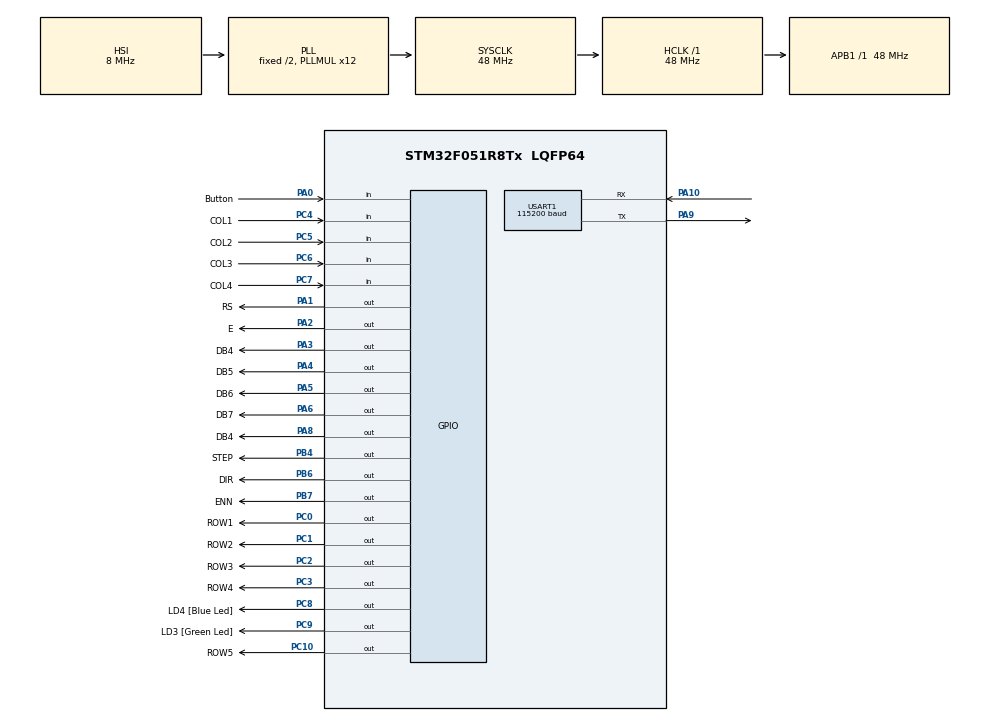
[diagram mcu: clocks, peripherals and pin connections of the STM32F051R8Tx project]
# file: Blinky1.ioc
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Mcu.Family=STM32F0
Mcu.Name=STM32F051R8Tx
Mcu.Package=LQFP64
NVIC.USART1_IRQn=true\:0\:0\:false\:false\:true\:true\:true\:true
PA0.GPIO_Label=Button
PA0.GPIO_PuPd=GPIO_PULLUP
PA0.Signal=GPIO_Input
PA1.GPIO_Label=RS
PA1.Signal=GPIO_Output
PA10.Mode=Asynchronous
PA10.Signal=USART1_RX
PA13.GPIO_Label=SWDIO
PA13.Mode=Serial_Wire
PA13.Signal=SYS_SWDIO
PA14.GPIO_Label=SWCLK
PA14.Mode=Serial_Wire
PA14.Signal=SYS_SWCLK
PA2.GPIO_Label=E
PA2.Signal=GPIO_Output
PA3.GPIO_Label=DB4
PA3.Signal=GPIO_Output
PA4.GPIO_Label=DB5
PA4.Signal=GPIO_Output
PA5.GPIO_Label=DB6
PA5.Signal=GPIO_Output
PA6.GPIO_Label=DB7
PA6.Signal=GPIO_Output
PA8.GPIO_Label=DB4
PA8.Signal=GPIO_Output
PA9.Mode=Asynchronous
PA9.Signal=USART1_TX
PB4.GPIO_Label=STEP
PB4.Signal=GPIO_Output
PB6.GPIO_Label=DIR
PB6.Signal=GPIO_Output
PB7.GPIO_Label=ENN
PB7.PinState=GPIO_PIN_SET
PB7.Signal=GPIO_Output
PC0.GPIO_Label=ROW1
PC0.Signal=GPIO_Output
PC1.GPIO_Label=ROW2
PC1.Signal=GPIO_Output
PC10.GPIO_Label=ROW5
PC10.Signal=GPIO_Output
PC2.GPIO_Label=ROW3
PC2.Signal=GPIO_Output
PC3.GPIO_Label=ROW4
PC3.Signal=GPIO_Output
PC4.GPIO_Label=COL1
PC4.GPIO_PuPd=GPIO_PULLUP
PC4.Signal=GPIO_Input
PC5.GPIO_Label=COL2
PC5.GPIO_PuPd=GPIO_PULLUP
PC5.Signal=GPIO_Input
PC6.GPIO_Label=COL3
PC6.GPIO_PuPd=GPIO_PULLUP
PC6.Signal=GPIO_Input
PC7.GPIO_Label=COL4
PC7.GPIO_PuPd=GPIO_PULLUP
PC7.Signal=GPIO_Input
PC8.GPIO_Label=LD4 [Blue Led]
PC8.Signal=GPIO_Output
PC9.GPIO_Label=LD3 [Green Led]
PC9.Signal=GPIO_Output
PF0-OSC_IN.Mode=HSE-External-Oscillator
PF0-OSC_IN.Signal=RCC_OSC_IN
PF1-OSC_OUT.Mode=HSE-External-Oscillator
PF1-OSC_OUT.Signal=RCC_OSC_OUT
ProjectManager.HeapSize=0x200
ProjectManager.StackSize=0x400
ProjectManager.TargetToolchain=STM32CubeIDE
RCC.AHBFreq_Value=48000000
RCC.APB1Freq_Value=48000000
RCC.APB1TimFreq_Value=48000000
RCC.HCLKFreq_Value=48000000
RCC.PLLMUL=RCC_PLL_MUL12
RCC.SYSCLKFreq_VALUE=48000000
RCC.SYSCLKSource=RCC_SYSCLKSOURCE_PLLCLK
USART1.BaudRate=115200
USART1.VirtualMode-Asynchronous=VM_ASYNC
board=STM32F0DISCOVERY

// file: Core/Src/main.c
/* USER CODE BEGIN Header */
/**
  ******************************************************************************
  * @file           : main.c
  * @brief          : Main program body
  ******************************************************************************
  */
/* USER CODE END Header */
#include "main.h"
#include "usart.h"
#include "gpio.h"

/* USER CODE BEGIN Includes */
#include "Application.h"
#include "UART_Application.h"
#include "ButtonCore.h"
#include "LED_Controller.h"
#include <stdio.h>
#include "TMC2208_UART_Driver.h"
#include "TMC2208_Core.h"
#include "TMC2208_Test.h"
#include "Motor_Application.h"
/* USER CODE END Includes */

/* USER CODE BEGIN PV */
uint32_t sent_value = 0;
uint32_t read_back_value = 0;
//extern UART_HandleTypeDef huart2;
TMC2208_IOIN_Pins_t Ioin;

/* USER CODE END PV */

void SystemClock_Config(void);

/* USER CODE BEGIN 0 */
/* USER CODE BEGIN 0 */

/* USER CODE END 0 */

int main(void)
{

  /* MCU Configuration--------------------------------------------------------*/

  /* Reset of all peripherals, Initializes the Flash interface and the Systick. */
  HAL_Init();

  /* Configure the system clock */
  SystemClock_Config();

  /* Initialize all configured peripherals */
  MX_GPIO_Init();
  MX_USART1_UART_Init();
  /* USER CODE BEGIN 2 */
  ApplicationInit();
//  RunAllTests();

  /* USER CODE END 2 */

  /* Infinite loop */
  while (1)
  {

    /* USER CODE BEGIN 3 */

	  ApplicationProcess();
  }
  /* USER CODE END 3 */
}

void SystemClock_Config(void)
{
  RCC_OscInitTypeDef RCC_OscInitStruct = {0};
  RCC_ClkInitTypeDef RCC_ClkInitStruct = {0};
  RCC_PeriphCLKInitTypeDef PeriphClkInit = {0};

  /** Initializes the RCC Oscillators according to the specified parameters
  * in the RCC_OscInitTypeDef structure.
  */
  RCC_OscInitStruct.OscillatorType = RCC_OSCILLATORTYPE_HSI;
  RCC_OscInitStruct.HSIState = RCC_HSI_ON;
  RCC_OscInitStruct.HSICalibrationValue = RCC_HSICALIBRATION_DEFAULT;
  RCC_OscInitStruct.PLL.PLLState = RCC_PLL_ON;
  RCC_OscInitStruct.PLL.PLLSource = RCC_PLLSOURCE_HSI;
  RCC_OscInitStruct.PLL.PLLMUL = RCC_PLL_MUL12;
  RCC_OscInitStruct.PLL.PREDIV = RCC_PREDIV_DIV1;
  if (HAL_RCC_OscConfig(&RCC_OscInitStruct) != HAL_OK)
  {
    Error_Handler();
  }

  /** Initializes the CPU, AHB and APB buses clocks
  */
  RCC_ClkInitStruct.ClockType = RCC_CLOCKTYPE_HCLK|RCC_CLOCKTYPE_SYSCLK
                              |RCC_CLOCKTYPE_PCLK1;
  RCC_ClkInitStruct.SYSCLKSource = RCC_SYSCLKSOURCE_PLLCLK;
  RCC_ClkInitStruct.AHBCLKDivider = RCC_SYSCLK_DIV1;
  RCC_ClkInitStruct.APB1CLKDivider = RCC_HCLK_DIV1;

  if (HAL_RCC_ClockConfig(&RCC_ClkInitStruct, FLASH_LATENCY_1) != HAL_OK)
  {
    Error_Handler();
  }
  PeriphClkInit.PeriphClockSelection = RCC_PERIPHCLK_USART1;
  PeriphClkInit.Usart1ClockSelection = RCC_USART1CLKSOURCE_PCLK1;
  if (HAL_RCCEx_PeriphCLKConfig(&PeriphClkInit) != HAL_OK)
  {
    Error_Handler();
  }
}

/* USER CODE BEGIN 4 */

void HAL_SYSTICK_Callback(void)
{
    HandleTick();
}

void HAL_UART_RxCpltCallback(UART_HandleTypeDef *huart)
{
    if(huart->Instance == USART1)
    {
        UART_OnByteReceived();
    }
}

/* USER CODE END 4 */

void Error_Handler(void)
{
  __disable_irq();
  while (1)
  {
  }
}
